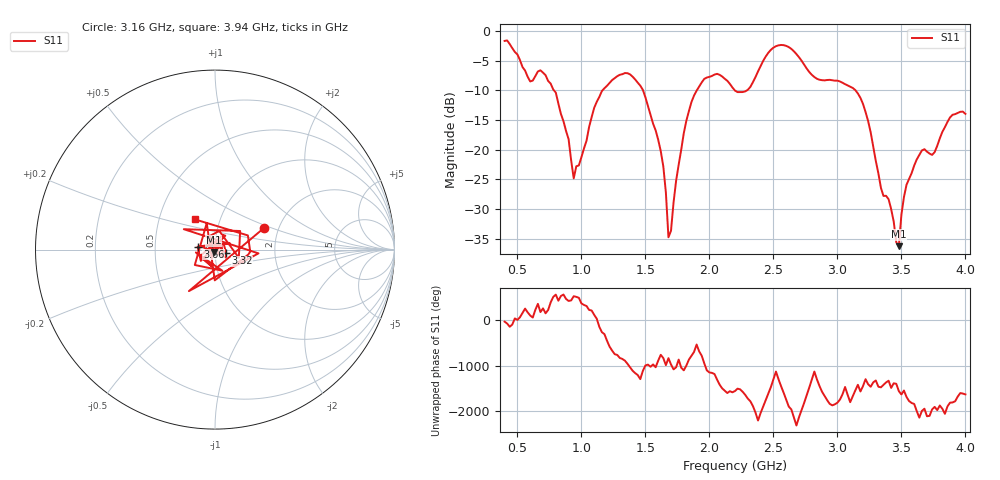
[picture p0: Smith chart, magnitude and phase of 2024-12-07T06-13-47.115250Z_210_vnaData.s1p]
!Created with skrf (http://scikit-rf.org).
# Hz S RI R 50.0
!freq ReS11 ImS11
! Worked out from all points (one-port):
!   181 points, 400 MHz to 4 GHz, reference 50 ohm
!   lowest |S11| = -36.2 dB at 3.48 GHz (marker M1), VSWR 1.03, Z = 49.3 - j1.38 ohm
!   |S11| at or under -10 dB: 785.4 MHz to 1.165 GHz (379.6 MHz wide, 38.9 % of centre); 1.481 GHz to 1.902 GHz (420.3 MHz wide, 24.8 % of centre); 3.141 GHz to end of sweep (the widest 3 of 4)
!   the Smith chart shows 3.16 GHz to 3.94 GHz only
!   S11 on the Smith chart (normalised r, x): 3.16 GHz: 1.68, +0.44; 3.32 GHz: 1.13, -0.04; 3.66 GHz: 0.82, +0.03; 3.94 GHz: 0.76, +0.27
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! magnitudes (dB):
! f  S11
! 400 MHz  -1.7
! 600 MHz  -8.5
! 720 MHz  -7.4
! 860 MHz  -15.2
! 940 MHz  -24.8
! 1.12 GHz  -11.9
! 1.3 GHz  -7.4
! 1.46 GHz  -9.2
! 1.58 GHz  -16.7
! 1.64 GHz  -22.8
! 1.68 GHz  -34.7
! 1.76 GHz  -22.5
! 1.86 GHz  -12.0
! 1.96 GHz  -8.1
! 2.2 GHz  -10.0
! 2.3 GHz  -9.9
! 2.5 GHz  -2.8
! 2.66 GHz  -3.4
! 3.1 GHz  -9.4
! 3.16 GHz  -10.5
! 3.32 GHz  -24.0
! 3.48 GHz  -36.2
! 3.52 GHz  -28.0
! 3.56 GHz  -24.9
! 3.66 GHz  -20.1
! 3.74 GHz  -20.9
! 3.94 GHz  -13.8
! 4 GHz  -14.0
